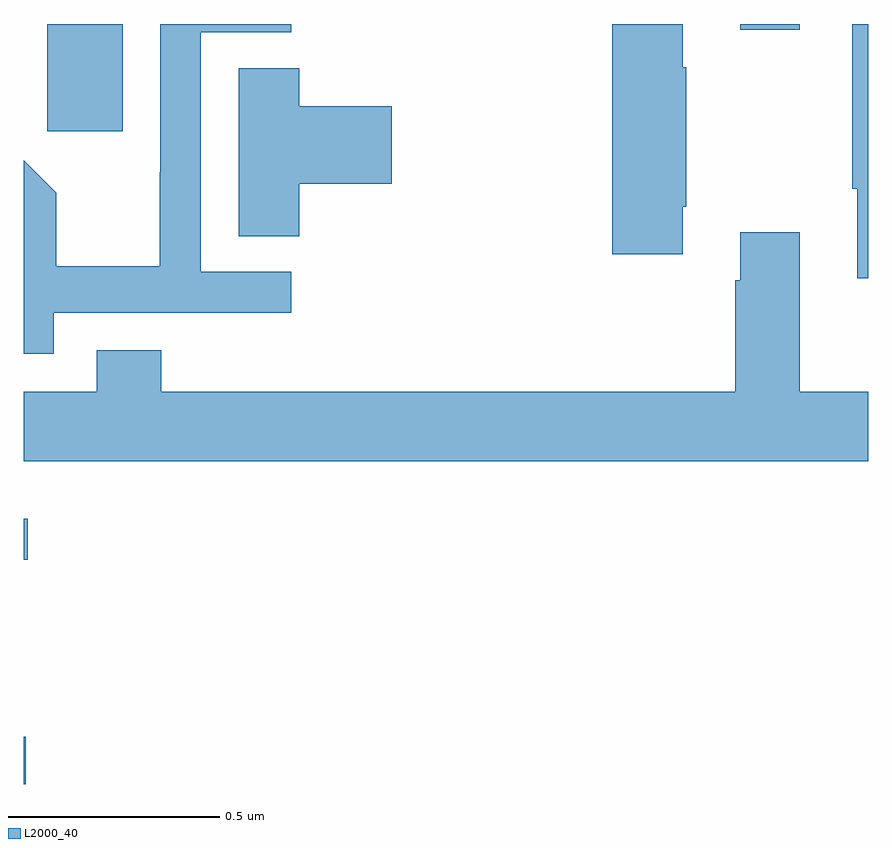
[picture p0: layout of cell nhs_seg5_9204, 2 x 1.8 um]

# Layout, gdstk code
import gdstk
lib = gdstk.Library(unit=1e-6, precision=1e-09)
def R(c, l, rs):  # rectangles x0, y0, x1, y1
    for r in rs: c.add(gdstk.rectangle(r[:2], r[2:], *l))
def P(c, l, *ps):  # polygons
    for p in ps: c.add(gdstk.Polygon(p, *l))
L2000_40 = (2000, 40)

nhs_seg5_9204 = lib.new_cell('nhs_seg5_9204')
R(nhs_seg5_9204, L2000_40, [(231,852,231.005,852.112), (231,852.531,231.01,852.628), (231.056,853.545,231.235,853.799), (232.697,853.785,232.837,853.799)])
P(nhs_seg5_9204, L2000_40, [(231.072,853.116),(231.634,853.116),(231.634,853.212),(231.42,853.212),(231.42,853.779),(231.634,853.779),(231.634,853.799),(231.324,853.799),(231.324,853.448),(231.322,853.448),(231.322,853.225),(231.077,853.225),(231.077,853.399),(231,853.476),(231,853.019),(231.072,853.019)],
  [(233,853.799),(232.962,853.799),(232.962,853.409),(232.973,853.409),(232.973,853.197),(233,853.197)],
  [(232.561,853.366),(232.569,853.366),(232.569,853.697),(232.561,853.697),(232.561,853.799),(232.394,853.799),(232.394,853.254),(232.561,853.254)],
  [(231.653,853.421),(231.871,853.421),(231.871,853.604),(231.653,853.604),(231.653,853.694),(231.509,853.694),(231.509,853.297),(231.653,853.297)],
  [(233,852.928),(232.837,852.928),(232.837,853.306),(232.697,853.306),(232.697,853.193),(232.685,853.193),(232.685,852.928),(231.326,852.928),(231.326,853.027),(231.173,853.027),(231.173,852.928),(231,852.928),(231,852.764),(233,852.764)])

lib.write_gds('nhs_seg5_9204.gds')
